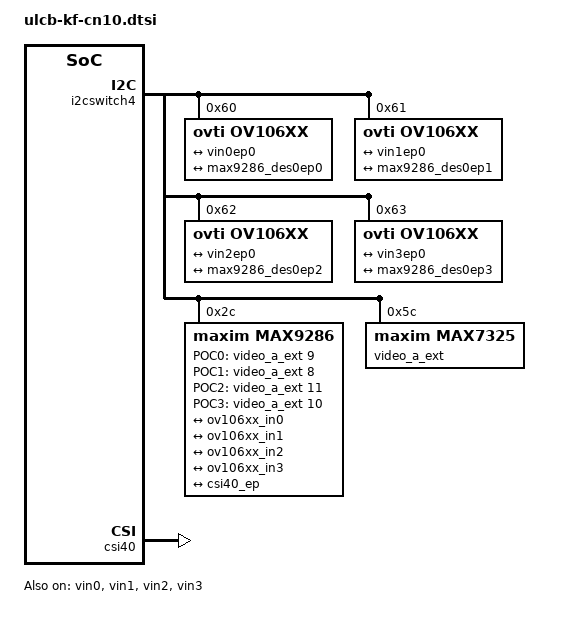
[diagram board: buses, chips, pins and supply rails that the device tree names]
/*
* Device Tree Source for the H3ULCB Kingfisher board:
*  this adding conflicting resource on VIN0/VIN1/VIN2/VIN3 for CN10
*  use CN10 instead default CN29/CN48
*
* Copyright (C) 2017 Renesas Electronics Corp.
* Copyright (C) 2017 Cogent Embedded, Inc.
* Copyright (C) 2018 GlobalLogic
*
* This file is licensed under the terms of the GNU General Public License
* version 2.  This program is licensed "as is" without any warranty of any
* kind, whether express or implied.
*/

&i2cswitch4 {
	i2c@1 {
		#address-cells = <1>;
		#size-cells = <0>;
		reg = <1>;

		/* Slot A (CN10) */
		ov106xx@0 {
			compatible = "ovti,ov106xx";
			reg = <0x60>;

			port@0 {
				ov106xx_in0: endpoint {
					clock-lanes = <0>;
					data-lanes = <1 2 3 4>;
					remote-endpoint = <&vin0ep0>;
				};
			};
			port@1 {
				ov106xx_max9286_des0ep0: endpoint@0 {
					remote-endpoint = <&max9286_des0ep0>;
				};
			};
		};

		ov106xx@1 {
			compatible = "ovti,ov106xx";
			reg = <0x61>;

				port@0 {
				ov106xx_in1: endpoint {
					clock-lanes = <0>;
					data-lanes = <1 2 3 4>;
					remote-endpoint = <&vin1ep0>;
				};
			};
			port@1 {
				ov106xx_max9286_des0ep1: endpoint@0 {
					remote-endpoint = <&max9286_des0ep1>;
				};
			};
		};

		ov106xx@2 {
			compatible = "ovti,ov106xx";
			reg = <0x62>;

			port@0 {
				ov106xx_in2: endpoint {
					clock-lanes = <0>;
					data-lanes = <1 2 3 4>;
					remote-endpoint = <&vin2ep0>;
				};
			};
			port@1 {
				ov106xx_max9286_des0ep2: endpoint@0 {
					remote-endpoint = <&max9286_des0ep2>;
				};
			};
		};

		ov106xx@3 {
			compatible = "ovti,ov106xx";
			reg = <0x63>;

			port@0 {
				ov106xx_in3: endpoint {
					clock-lanes = <0>;
					data-lanes = <1 2 3 4>;
					remote-endpoint = <&vin3ep0>;
				};
			};
			port@1 {
				ov106xx_max9286_des0ep3: endpoint@0 {
					remote-endpoint = <&max9286_des0ep3>;
				};
			};
		};

		/* MAX9286 @ 0x2c */
		max9286@0 {
			compatible = "maxim,max9286";
			reg = <0x2c>;
			maxim,sensor_delay = <350>;
			maxim,links = <4>;
			maxim,lanes = <4>;
			maxim,resetb-gpio = <1>;
			maxim,fsync-mode = "automatic";
			maxim,timeout = <100>;

			POC0-gpios = <&video_a_ext 9 GPIO_ACTIVE_HIGH>;
			POC1-gpios = <&video_a_ext 8 GPIO_ACTIVE_HIGH>;
			POC2-gpios = <&video_a_ext 11 GPIO_ACTIVE_HIGH>;
			POC3-gpios = <&video_a_ext 10 GPIO_ACTIVE_HIGH>;

			port@0 {
				max9286_des0ep0: endpoint@0 {
					max9271-addr = <0x50>;
					dvp-order = <1>;
					remote-endpoint = <&ov106xx_in0>;
				};
				max9286_des0ep1: endpoint@1 {
					max9271-addr = <0x51>;
					dvp-order = <1>;
					remote-endpoint = <&ov106xx_in1>;
				};
				max9286_des0ep2: endpoint@2 {
					max9271-addr = <0x52>;
					dvp-order = <1>;
					remote-endpoint = <&ov106xx_in2>;
				};
				max9286_des0ep3: endpoint@3 {
					max9271-addr = <0x53>;
					dvp-order = <1>;
					remote-endpoint = <&ov106xx_in3>;
				};
			};
			port@1 {
				max9286_csi0ep0: endpoint {
					csi-rate = <700>;
					remote-endpoint = <&csi40_ep>;
				};
			};
		};
	};

	i2c@7 {
		#address-cells = <1>;
		#size-cells = <0>;
		reg = <7>;

		/* Slot A (CN10) */
		video_a_ext: max7325@5c {
			compatible = "maxim,max7325";
			reg = <0x5c>;
			gpio-controller;
			#gpio-cells = <2>;

			video_a_des_cfg2 {
				gpio-hog;
				gpios = <4 GPIO_ACTIVE_HIGH>;
				input;
				line-name = "Video-A cfg2";
			};
			video_a_des_cfg1 {
				gpio-hog;
				gpios = <6 GPIO_ACTIVE_HIGH>;
				input;
				line-name = "Video-A cfg1";
			};
			video_a_des_cfg0 {
				gpio-hog;
				gpios = <7 GPIO_ACTIVE_HIGH>;
				input;
				line-name = "Video-A cfg0";
			};
			video_a_pwr_shdn {
				gpio-hog;
				gpios = <14 GPIO_ACTIVE_HIGH>;
				output-high;
				line-name = "Video-A PWR_SHDN";
			};
			video_a_des_shdn {
				gpio-hog;
				gpios = <13 GPIO_ACTIVE_HIGH>;
				output-high;
				line-name = "Video-A DES_SHDN";
			};
			video_a_led {
				gpio-hog;
				gpios = <12 GPIO_ACTIVE_HIGH>;
				output-low;
				line-name = "Video-A LED";
			};
		};
	};
};

&vin0 {
	status = "okay";

	ports {
		port@0 {
			vin0ep0: endpoint {
				csi,select = "csi40";
				virtual,channel = <0>;
				data-lanes = <1 2 3 4>;
				remote-endpoint = <&ov106xx_in0>;
			};
		};
		port@1 {
			csi0ep0: endpoint {
				remote-endpoint = <&csi40_ep>;
			};
		};
		port@2 {
			vin0_max9286_des0ep0: endpoint@0 {
				remote-endpoint = <&max9286_des0ep0>;
			};
		};
	};
};

&vin1 {
	status = "okay";

	ports {
		port@0 {
			vin1ep0: endpoint {
				csi,select = "csi40";
				virtual,channel = <1>;
				data-lanes = <1 2 3 4>;
				remote-endpoint = <&ov106xx_in1>;
			};
		};
		port@1 {
			csi0ep1: endpoint {
				remote-endpoint = <&csi40_ep>;
			};
		};
		port@2 {
			vin1_max9286_des0ep1: endpoint@0 {
				remote-endpoint = <&max9286_des0ep1>;
			};
		};
	};
};

&vin2 {
	status = "okay";

	ports {
		port@0 {
			vin2ep0: endpoint {
				csi,select = "csi40";
				virtual,channel = <2>;
				data-lanes = <1 2 3 4>;
				remote-endpoint = <&ov106xx_in2>;
			};
		};
		port@1 {
			csi0ep2: endpoint {
				remote-endpoint = <&csi40_ep>;
			};
		};
		port@2 {
			vin2_max9286_des0ep2: endpoint@0 {
				remote-endpoint = <&max9286_des0ep2>;
			};
		};
	};
};

&vin3 {
	status = "okay";

	ports {
		port@0 {
			vin3ep0: endpoint {
				csi,select = "csi40";
				virtual,channel = <3>;
				data-lanes = <1 2 3 4>;
				remote-endpoint = <&ov106xx_in3>;
			};
		};
		port@1 {
			csi0ep3: endpoint {
				remote-endpoint = <&csi40_ep>;
			};
		};
		port@2 {
			vin3_max9286_des0ep3: endpoint@0 {
				remote-endpoint = <&max9286_des0ep3>;
			};
		};
	};
};

&csi40 {
	status = "okay";

	virtual,channel {
		csi2_vc0 {
			data,type = "ycbcr422";
			receive,vc = <0>;
		};
		csi2_vc1 {
			data,type = "ycbcr422";
			receive,vc = <1>;
		};
		csi2_vc2 {
			data,type = "ycbcr422";
			receive,vc = <2>;
		};
		csi2_vc3 {
			data,type = "ycbcr422";
			receive,vc = <3>;
		};
	};

	port {
		csi40_ep: endpoint {
			clock-lanes = <0>;
			data-lanes = <1 2 3 4>;
			csi-rate = <300>;
		};
	};
};
